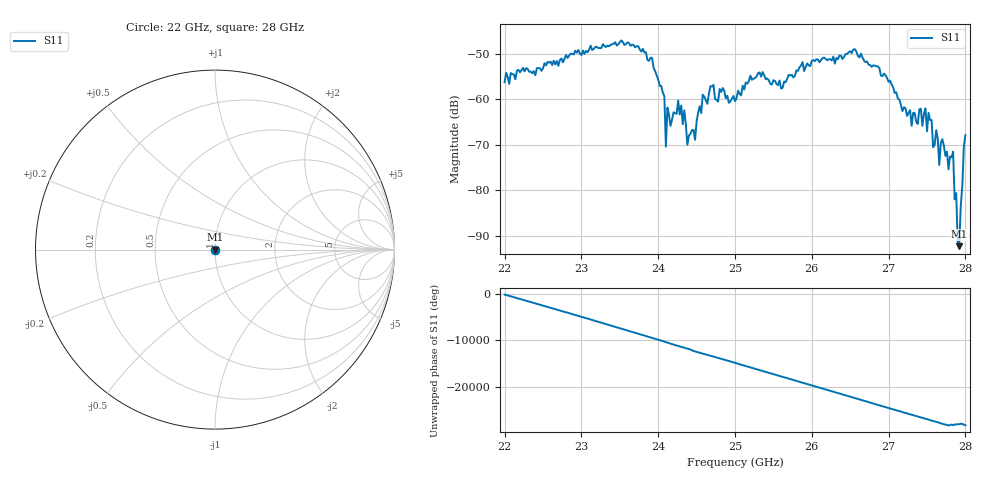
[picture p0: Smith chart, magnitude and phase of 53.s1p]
#  HZ  S  RI  R  50.00
! Rohde & Schwarz ZVA40 4Ports - Version 3.90 - 1145.1110k42 SN: 100403
! Date: 2023-10-04 08:52:11
! Measurement: S12
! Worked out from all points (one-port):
!   301 points, 22 GHz to 28 GHz, reference 50 ohm
!   lowest |S11| = -92.3 dB at 27.92 GHz (marker M1), VSWR 1.00, Z = 50 + j0.000396 ohm
!   |S11| at or under -10 dB: start of sweep to end of sweep
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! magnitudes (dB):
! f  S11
! 22 GHz  -56.2
! 22.76 GHz  -51.9
! 23.5 GHz  -47.5
! 23.92 GHz  -50.9
! 24.08 GHz  -59.3
! 24.1 GHz  -70.4
! 24.12 GHz  -61.8
! 24.16 GHz  -65.8
! 24.26 GHz  -60.3
! 24.34 GHz  -62.4
! 24.38 GHz  -70.0
! 24.68 GHz  -57.1
! 25 GHz  -60.4
! 25.2 GHz  -54.8
! 25.76 GHz  -55.2
! 26.5 GHz  -49.4
! 27.26 GHz  -63.0
! 27.52 GHz  -62.9
! 27.58 GHz  -70.5
! 27.62 GHz  -66.8
! 27.66 GHz  -74.4
! 27.7 GHz  -68.8
! 27.78 GHz  -75.4
! 27.84 GHz  -71.5
! 27.86 GHz  -81.9
! 27.92 GHz  -92.3
! 27.96 GHz  -79.0
! 28 GHz  -67.9
